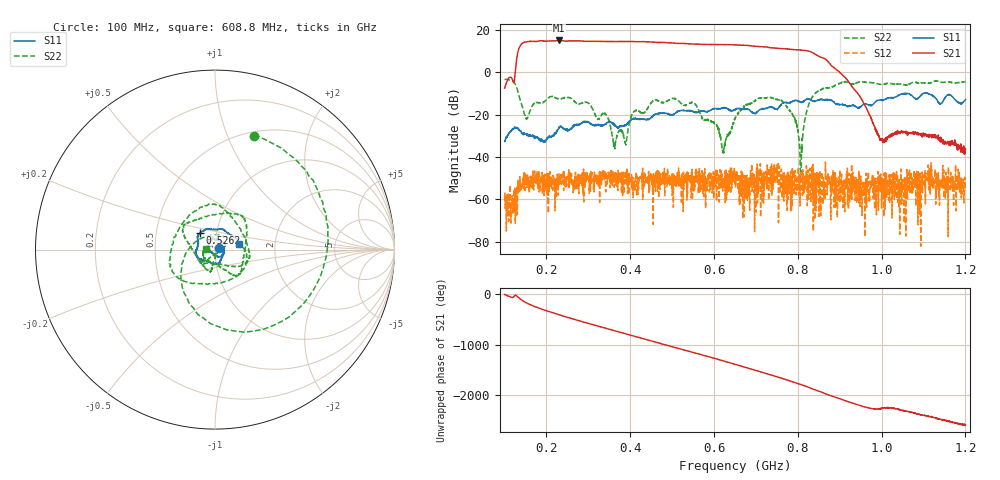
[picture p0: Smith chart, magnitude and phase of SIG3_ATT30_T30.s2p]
# Hz S DB R 50
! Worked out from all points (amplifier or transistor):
!   1601 points, 100 MHz to 1.2 GHz, reference 50 ohm
!   highest |S21| = 14.9 dB at 230.6 MHz (marker M1)
!   |S21| within 3 dB of that: 135.8 MHz to 716 MHz (580.2 MHz wide, 136 % of centre)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
!   unconditionally stable (mu >= 1): start of sweep to end of sweep
!   at 282.9 MHz: K = 35.25, MAG = 14.8 dB, |S12| = -52.0 dB
!   at 650 MHz: K = 47.69, MAG = 12.9 dB, |S12| = -52.6 dB
!   at 1.2 GHz: K = 12575.92, MAG = -34.1 dB, |S12| = -56.0 dB
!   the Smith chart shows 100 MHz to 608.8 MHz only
!   S11 on the Smith chart (normalised r, x): 100 MHz: 1.04, +0.02; 526.2 MHz: 0.83, +0.16; 608.8 MHz: 1.31, +0.08
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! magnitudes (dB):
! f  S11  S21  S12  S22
! 100 MHz  -32.4  -7.5  -59.5  -3.5
! 124.8 MHz  -26.2  -1.3  -54.7  -5.5
! 135.8 MHz  -27.4  11.9  -53.2  -12.1
! 152.2 MHz  -29.2  14.3  -52.2  -22.1
! 230.6 MHz  -25.7  14.9  -51.7  -12.7
! 283.6 MHz  -24.2  14.6  -49.9  -14.6
! 342 MHz  -24.6  14.5  -47.0  -20.1
! 363.3 MHz  -24.8  14.4  -50.0  -36.1
! 390.1 MHz  -25.2  14.4  -48.9  -32.7
! 409.4 MHz  -22.2  14.4  -54.9  -18.5
! 467.1 MHz  -19.7  14.0  -47.6  -13.5
! 526.2 MHz  -17.9  13.5  -65.7  -15.5
! 608.8 MHz  -17.2  13.0  -50.5  -25.7
! 623.2 MHz  -16.7  13.0  -51.8  -38.1
! 650 MHz  -17.9  12.8  -52.6  -21.7
! 760 MHz  -15.3  11.1  -49.4  -13.2
! 792.3 MHz  -13.3  10.6  -55.6  -21.3
! 806.8 MHz  -14.1  10.4  -55.2  -50.8
! 833.6 MHz  -13.4  9.3  -44.7  -12.0
! 914 MHz  -15.7  -2.7  -55.0  -4.6
! 1.017 GHz  -12.1  -30.5  -60.4  -5.3
! 1.2 GHz  -12.9  -36.2  -56.0  -4.5
